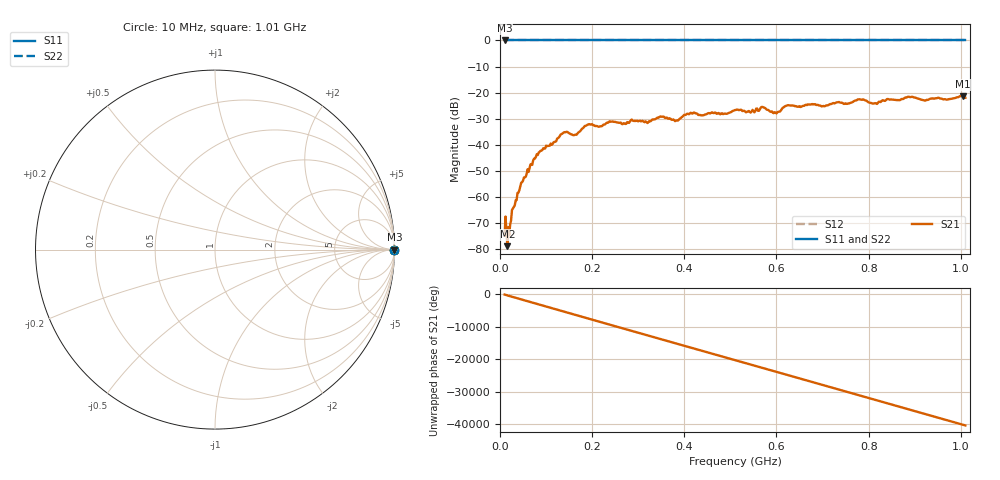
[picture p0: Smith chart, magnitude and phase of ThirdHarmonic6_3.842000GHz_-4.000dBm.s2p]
! 8/17/2025 1:23:01 PM
! C:\ANRITSUVNA\TEMP\TEMP.S2P
! CHANNEL.1
! TR.MEASUREMENT
! RAW.DATA
! RF.CORRECTION.OFF
! AVERAGING.OFF
! IF.BANDWIDTH: 5KHZ
! SWEEPTYPE:  FREQ.SWEEP(Linear)
! Reference Plane Port Info
! PORT:  PORT1  PORT2
! DISTANCE:  0  m  0  m
! TIME:  0  s  0  s
! PHASE.OFFSET:  0  deg.  0  deg.
! LOSS:  0  dB  0  dB
! REF.LOSS:  0  dB  0  dB
! REF.FREQ:  0  Hz  0  Hz
! Power Info
! POWER:  -20  dBm  -20  dBm
! EFF.POWER:  -20  dBm  -20  dBm
! SOURCE.ATTEN:  0  dB  0  dB
! TEST.ATTEN:  0  dB  0  dB
# GHZ S RI R 50.0
! FREQ.GHZ  S11RE  S11IM  S21RE  S21IM  S12RE  S12IM  S22RE  S22IM
!; PortSelection: Port_12
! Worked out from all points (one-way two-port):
!   501 points, 10 MHz to 1.01 GHz, reference 50 ohm
!   highest |S21| = -21.32 dB at 1.004 GHz (marker M1); lowest = -78.8 dB at 16 MHz (marker M2)
!   lowest |S11| = 0.0 dB at 10 MHz (marker M3)
!   |S11| at or under -10 dB: nowhere
!   |S22| runs from 0.0 to 0.0 dB; largest |S21 - S12| = 1.1
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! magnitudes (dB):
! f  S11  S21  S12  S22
! 10 MHz  0.0  -74.8  0.0  0.0
! 16 MHz  0.0  -78.8  0.0  0.0
! 20 MHz  0.0  -74.7  0.0  0.0
! 30 MHz  0.0  -63.8  0.0  0.0
! 42 MHz  0.0  -57.4  0.0  0.0
! 76 MHz  0.0  -45.2  0.0  0.0
! 136 MHz  0.0  -35.6  0.0  0.0
! 162 MHz  0.0  -36.2  0.0  0.0
! 178 MHz  0.0  -33.8  0.0  0.0
! 194 MHz  0.0  -32.0  0.0  0.0
! 322 MHz  0.0  -31.3  0.0  0.0
! 344 MHz  0.0  -29.6  0.0  0.0
! 382 MHz  0.0  -30.7  0.0  0.0
! 410 MHz  0.0  -28.3  0.0  0.0
! 510 MHz  0.0  -26.7  0.0  0.0
! 570 MHz  0.0  -25.5  0.0  0.0
! 596 MHz  0.0  -27.5  0.0  0.0
! 622 MHz  0.0  -25.0  0.0  0.0
! 678 MHz  0.0  -24.4  0.0  0.0
! 844 MHz  0.0  -22.6  0.0  0.0
! 1.004 GHz  0.0  -21.3  0.0  0.0
! 1.01 GHz  0.0  -22.0  0.0  0.0
